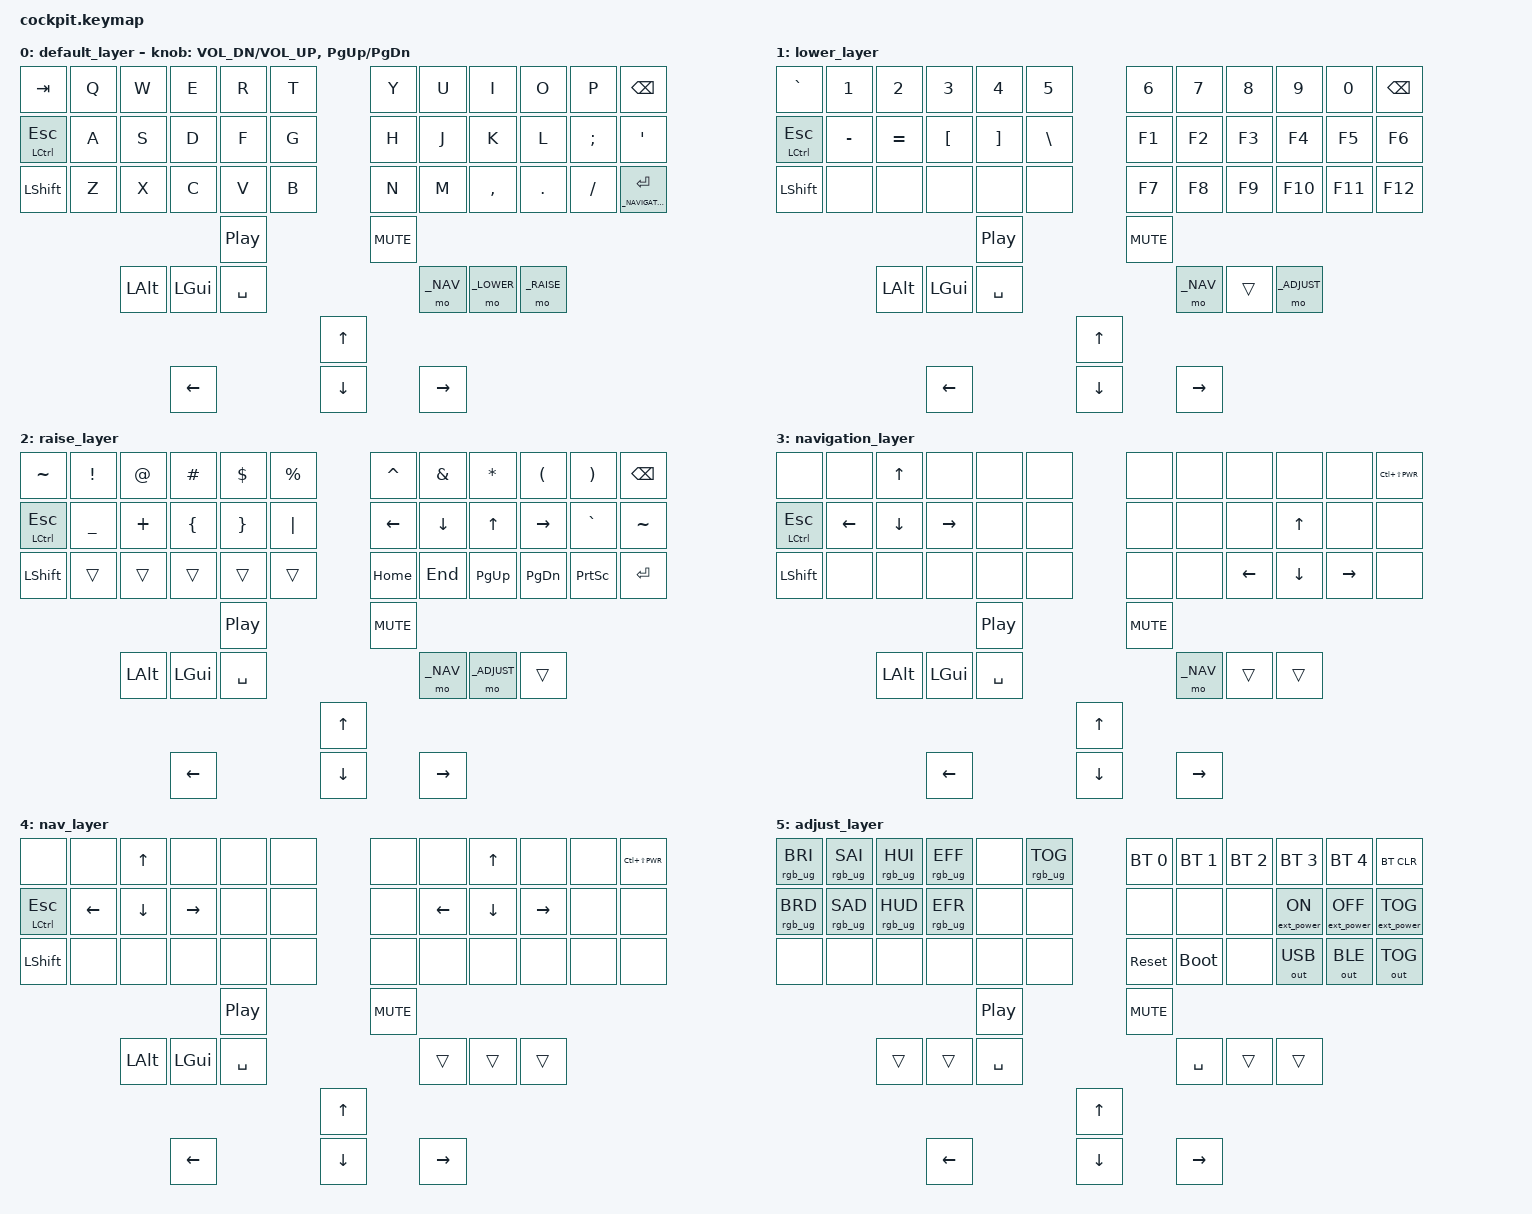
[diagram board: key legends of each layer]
#include <behaviors.dtsi>
#include <dt-bindings/zmk/keys.h>
#include <dt-bindings/zmk/ext_power.h>
#include <dt-bindings/zmk/outputs.h>
#include <dt-bindings/zmk/bt.h>
#include <dt-bindings/zmk/rgb.h>
#include <dt-bindings/led/led.h>

&spi1 {
	compatible = "nordic,nrf-spim";
	status = "okay";
	mosi-pin = <8>;
	// Unused pins, needed for SPI definition, but not used by the ws2812 driver itself.
	sck-pin = <5>;
	miso-pin = <7>;

	led_strip: ws2812@0 {
		compatible = "worldsemi,ws2812-spi";
		label = "WS2812";

		/* SPI */
		reg = <0>; /* ignored, but necessary for SPI bindings */
		spi-max-frequency = <4000000>;

		/* WS2812 */
		chain-length = <15>; /* arbitrary; change at will */
		spi-one-frame = <0x70>;
		spi-zero-frame = <0x40>;
		color-mapping = <LED_COLOR_ID_GREEN LED_COLOR_ID_RED LED_COLOR_ID_BLUE>;
	};
};

/ {
	chosen {
		zmk,underglow = &led_strip;
	};
};

&left_encoder {
    status = "okay";
};

&right_encoder {
    status = "okay";
};

// Custom shortcuts
#define _LOCKSCREEN LC(LS(C_PWR)) // Screen Lock shortcut for OSX

// Layers
#define _BASE 0
#define _LOWER 1
#define _RAISE 2
#define _NAVIGATION 3
#define _NAV 4
#define _ADJUST 5


/ {
        keymap {
                compatible = "zmk,keymap";

                default_layer {


// BASE
// ╭──────┬──────┬──────┬──────┬──────┬──────╮                   ╭──────┬──────┬──────┬──────┬──────┬──────╮
// │ tab  │  Q   │  W   │  E   │  R   │  T   │                   │  Y   │  U   │  I   │  O   │   P  │bkspc │
// ├──────┼──────┼──────┼──────┼──────┼──────┤                   ├──────┼──────┼──────┼──────┼──────┼──────┤
// │ ctrl │  A   │  S   │  D   │  F   │  G   │                   │  H   │  J   │  K   │  L   │   ;  │   '  │
// ├──────┼──────┼──────┼──────┼──────┼──────┤                   ├──────┼──────┼──────┼──────┼──────┼──────┤
// │shift │  Z   │  X   │    C │  V   │  B   │                   │  N   │  M   │  ,   │    . │  /   │enter │
// ╰──────┴──────┴──────┴──────┴──────┴──────┼─────────┬─────────┼──────┴──────┴──────┴──────┴──────┴──────╯
//                                           │   MPLY  │  MUTE   │
//                     ╭──────┬──────┬───────┼─────────┴─────────┼──────┬──────┬──────╮
//                     │  ALT │ CMD  │  SPC  │                   │ NAV  │LOWER │RAISE │
//                     ╰──────┴──────┴───────┴─────┬──────┬──────┴──────┴──────┴──────╯
//                                                 │  UP  │
//                                          ╭──────┼──────┼──────╮
//                                          │ LEFT │ DOWN │ RIGHT│
//                                          ╰──────┴──────┴──────╯



                        bindings = <
   &kp TAB      &kp Q &kp W &kp E &kp R &kp T             &kp Y &kp U  &kp I     &kp O   &kp P    &kp BSPC
   &mt LCTL ESC &kp A &kp S &kp D &kp F &kp G             &kp H &kp J  &kp K     &kp L   &kp SEMI &kp SQT
   &kp LSHFT    &kp Z &kp X &kp C &kp V &kp B             &kp N &kp M  &kp COMMA &kp DOT &kp FSLH &lt _NAVIGATION RET
                                     &kp C_PLAY_PAUSE  &kp C_MUTE
                    &kp LALT &kp LGUI &kp SPACE              &mo _NAV &mo _LOWER  &mo _RAISE
                                               &kp UP_ARROW
                               &kp LEFT_ARROW  &kp DOWN_ARROW  &kp RIGHT_ARROW

                        >;
                        sensor-bindings = <&inc_dec_kp C_VOL_DN C_VOL_UP &inc_dec_kp PG_UP PG_DN>;
                };

                lower_layer {

// LOWER
// ╭──────┬──────┬──────┬──────┬──────┬──────╮                   ╭──────┬──────┬──────┬──────┬──────┬──────╮
// |  `   |  1   |  2   |  3   |  4   |  5   |                   |  6   |  7   |  8   |  9   |  0   |bkspc |
// ├──────┼──────┼──────┼──────┼──────┼──────┤                   ├──────┼──────┼──────┼──────┼──────┼──────┤
// | ctrl |  -   |  =   |  [   |  ]   |  \   |                   |  f1  |  f2  |  f3  |  f4  |  f5  |  f6  |
// ├──────┼──────┼──────┼──────┼──────┼──────┤                   ├──────┼──────┼──────┼──────┼──────┼──────┤
// |shift |      |      |      |      |      |                   |  f7  |  f8  |  f9  | f10  | f11  | f12  |
// ╰──────┴──────┴──────┴──────┴──────┴──────┼─────────┬─────────┼──────┴──────┴──────┴──────┴──────┴──────╯
//                                           │   MPLY  │  MUTE   │
//                     ╭──────┬──────┬───────┼─────────┴─────────┼──────┬──────┬──────╮
//                     │  ALT │ CMD  │  SPC  │                   │ NAV  │LOWER │RAISE │
//                     ╰──────┴──────┴───────┴─────┬──────┬──────┴──────┴──────┴──────╯
//                                                 │  UP  │
//                                          ╭──────┼──────┼──────╮
//                                          │ LEFT │ DOWN │ RIGHT│
//                                          ╰──────┴──────┴──────╯


                        bindings = <
   &kp GRAVE     &kp N1    &kp N2    &kp N3    &kp N4    &kp N5        &kp N6    &kp N7    &kp N8    &kp N9    &kp N0    &kp BSPC
   &mt LCTL ESC  &kp MINUS &kp EQUAL &kp LBKT  &kp RBKT  &kp BSLH      &kp F1    &kp F2    &kp F3    &kp F4    &kp F5    &kp F6
   &kp LSHFT     &none     &none     &none     &none     &none         &kp F7    &kp F8    &kp F9    &kp F10   &kp F11   &kp F12
                                                &kp C_PLAY_PAUSE  &kp C_MUTE
                          &kp LALT &kp LGUI &kp SPACE              &mo _NAV &trans &mo _ADJUST
                                                      &kp UP_ARROW
                                      &kp LEFT_ARROW  &kp DOWN_ARROW  &kp RIGHT_ARROW
                        >;
                };

                raise_layer {

// ╭──────┬──────┬──────┬──────┬──────┬──────╮                   ╭──────┬──────┬──────┬──────┬──────┬──────╮
// |  ~   |  !   |  @   |  #   |  $   |  %   |                   |  ^   |  &   |  *   |  (   |  )   |bkspc |
// ├──────┼──────┼──────┼──────┼──────┼──────┤                   ├──────┼──────┼──────┼──────┼──────┼──────┤
// | ctrl |  _   |  +   |  {   |  }   |  |   |                   | left | down |  up  |right |  `   |  ~   |
// ├──────┼──────┼──────┼──────┼──────┼──────┤                   ├──────┼──────┼──────┼──────┼──────┼──────┤
// |shift |      |      |      |      |      |                   | home | end  | pgup | pgdn |pscrn |enter |
// ╰──────┴──────┴──────┴──────┴──────┴──────┼─────────┬─────────┼──────┴──────┴──────┴──────┴──────┴──────╯
//                                           │   MPLY  │  MUTE   │
//                     ╭──────┬──────┬───────┼─────────┴─────────┼──────┬──────┬──────╮
//                     │  ALT │ CMD  │  SPC  │                   │ NAV  │LOWER │RAISE │
//                     ╰──────┴──────┴───────┴─────┬──────┬──────┴──────┴──────┴──────╯
//                                                 │  UP  │
//                                          ╭──────┼──────┼──────╮
//                                          │ LEFT │ DOWN │ RIGHT│
//                                          ╰──────┴──────┴──────╯


                        bindings = <
   &kp TILDE     &kp EXCL  &kp AT   &kp HASH &kp DLLR &kp PRCNT      &kp CARET &kp AMPS &kp ASTRK &kp LPAR  &kp RPAR  &kp BSPC
   &mt LCTL ESC  &kp UNDER &kp PLUS &kp LBRC &kp RBRC &kp PIPE       &kp LEFT  &kp DOWN &kp UP    &kp RIGHT &kp GRAVE &kp TILDE
   &kp LSHFT     &trans    &trans   &trans   &trans   &trans         &kp HOME  &kp END  &kp PG_UP &kp PG_DN &kp PSCRN &kp RET
                                            &kp C_PLAY_PAUSE  &kp C_MUTE
                          &kp LALT &kp LGUI &kp SPACE              &mo _NAV  &mo _ADJUST   &trans
                                                      &kp UP_ARROW
                                      &kp LEFT_ARROW  &kp DOWN_ARROW  &kp RIGHT_ARROW
                        >;
                };

                navigation_layer {

// ╭──────┬──────┬──────┬──────┬──────┬──────╮                   ╭──────┬──────┬──────┬──────┬──────┬──────╮
// |      |      |  up  |      |      |      |                   |      |      |      |      |      | lock |
// ├──────┼──────┼──────┼──────┼──────┼──────┤                   ├──────┼──────┼──────┼──────┼──────┼──────┤
// | ctrl | left | down |right |      |      |                   |      |      |      |  up  |      |      |
// ├──────┼──────┼──────┼──────┼──────┼──────┤                   ├──────┼──────┼──────┼──────┼──────┼──────┤
// |shift |      |      |      |      |      |                   |      |      | left | down |right |      |
// ╰──────┴──────┴──────┴──────┴──────┴──────┼─────────┬─────────┼──────┴──────┴──────┴──────┴──────┴──────╯
//                                           │   MPLY  │  MUTE   │
//                     ╭──────┬──────┬───────┼─────────┴─────────┼──────┬──────┬──────╮
//                     │  ALT │ CMD  │  SPC  │                   │ NAV  │      │      │
//                     ╰──────┴──────┴───────┴─────┬──────┬──────┴──────┴──────┴──────╯
//                                                 │  UP  │
//                                          ╭──────┼──────┼──────╮
//                                          │ LEFT │ DOWN │ RIGHT│
//                                          ╰──────┴──────┴──────╯


                        bindings = <
   &none         &none    &kp UP   &none     &none &none   &none &none &none    &none    &none     &kp _LOCKSCREEN
   &mt LCTL ESC  &kp LEFT &kp DOWN &kp RIGHT &none &none   &none &none &none    &kp UP   &none     &none
   &kp LSHFT     &none    &none    &none     &none &none   &none &none &kp LEFT &kp DOWN &kp RIGHT &none
                                            &kp C_PLAY_PAUSE  &kp C_MUTE
                          &kp LALT &kp LGUI &kp SPACE              &mo _NAV  &trans   &trans
                                                      &kp UP_ARROW
                                      &kp LEFT_ARROW  &kp DOWN_ARROW  &kp RIGHT_ARROW
                        >;
                };

                nav_layer {

// ╭──────┬──────┬──────┬──────┬──────┬──────╮                   ╭──────┬──────┬──────┬──────┬──────┬──────╮
// |      |      |  up  |      |      |      |                   |      |      |  up  |      |      | lock |
// ├──────┼──────┼──────┼──────┼──────┼──────┤                   ├──────┼──────┼──────┼──────┼──────┼──────┤
// | ctrl | left | down |right |      |      |                   |      | left | down |right |      |      |
// ├──────┼──────┼──────┼──────┼──────┼──────┤                   ├──────┼──────┼──────┼──────┼──────┼──────┤
// |shift |      |      |      |      |      |                   |      |      |      |      |      |      |
// ╰──────┴──────┴──────┴──────┴──────┴──────┼─────────┬─────────┼──────┴──────┴──────┴──────┴──────┴──────╯
//                                           │   MPLY  │  MUTE   │
//                     ╭──────┬──────┬───────┼─────────┴─────────┼──────┬──────┬──────╮
//                     │  ALT │ CMD  │  SPC  │                   │      │      │      │
//                     ╰──────┴──────┴───────┴─────┬──────┬──────┴──────┴──────┴──────╯
//                                                 │  UP  │
//                                          ╭──────┼──────┼──────╮
//                                          │ LEFT │ DOWN │ RIGHT│
//                                          ╰──────┴──────┴──────╯


                        bindings = <
   &none         &none    &kp UP   &none     &none &none   &none &none    &kp UP   &none     &none &kp _LOCKSCREEN
   &mt LCTL ESC  &kp LEFT &kp DOWN &kp RIGHT &none &none   &none &kp LEFT &kp DOWN &kp RIGHT &none &none
   &kp LSHFT     &none    &none    &none     &none &none   &none &none    &none    &none     &none &none
                                            &kp C_PLAY_PAUSE  &kp C_MUTE
                          &kp LALT &kp LGUI &kp SPACE              &trans  &trans   &trans
                                                      &kp UP_ARROW
                                      &kp LEFT_ARROW  &kp DOWN_ARROW  &kp RIGHT_ARROW
                        >;
                };

                adjust_layer {
// ADJUST
// ╭──────┬──────┬──────┬──────┬──────┬──────╮                   ╭──────┬──────┬──────┬──────┬──────┬──────╮
// | BRI+ | SAT+ | HUE+ | ANI+ |      | TOG  |                   │ bt1  | bt2  | bt3  | bt4  | bt5  |btclr │
// ├──────┼──────┼──────┼──────┼──────┼──────┤                   ├──────┼──────┼──────┼──────┼──────┼──────┤
// | BRI- | SAT- | HUE- | ANI- |      |      |                   |      |      |      |EP_ON |EP_OFF|EP_TOG|
// ├──────┼──────┼──────┼──────┼──────┼──────┤                   ├──────┼──────┼──────┼──────┼──────┼──────┤
// │      │      │      │      │      │      │                   |RESET |BOOTL |      |O_USB |O_BLE|OUT_TOG|
// ╰──────┴──────┴──────┴──────┴──────┴──────┼─────────┬─────────┼──────┴──────┴──────┴──────┴──────┴──────╯
//                                           │   MPLY  │  MUTE   │
//                     ╭──────┬──────┬───────┼─────────┴─────────┼──────┬──────┬──────╮
//                     │      │      │  SPC  │                   │ SPC  │      │      │
//                     ╰──────┴──────┴───────┴─────┬──────┬──────┴──────┴──────┴──────╯
//                                                 │  UP  │
//                                          ╭──────┼──────┼──────╮
//                                          │ LEFT │ DOWN │ RIGHT│
//                                          ╰──────┴──────┴──────╯

                        bindings = <
   &rgb_ug RGB_BRI &rgb_ug RGB_SAI &rgb_ug RGB_HUI &rgb_ug RGB_EFF &none &rgb_ug RGB_TOG    &bt BT_SEL 0 &bt BT_SEL 1  &bt BT_SEL 2 &bt BT_SEL 3       &bt BT_SEL 4        &bt BT_CLR
   &rgb_ug RGB_BRD &rgb_ug RGB_SAD &rgb_ug RGB_HUD &rgb_ug RGB_EFR &none &none              &none        &none         &none        &ext_power EP_ON   &ext_power EP_OFF   &ext_power EP_TOG
   &none           &none           &none           &none           &none &none              &sys_reset   &bootloader   &none        &out OUT_USB       &out OUT_BLE        &out OUT_TOG
                                     &kp C_PLAY_PAUSE  &kp C_MUTE
                &trans    &trans  &kp SPACE              &kp SPACE &trans  &trans
                                          &kp UP_ARROW
                         &kp LEFT_ARROW  &kp DOWN_ARROW  &kp RIGHT_ARROW


                        >;
                };
        };
};
